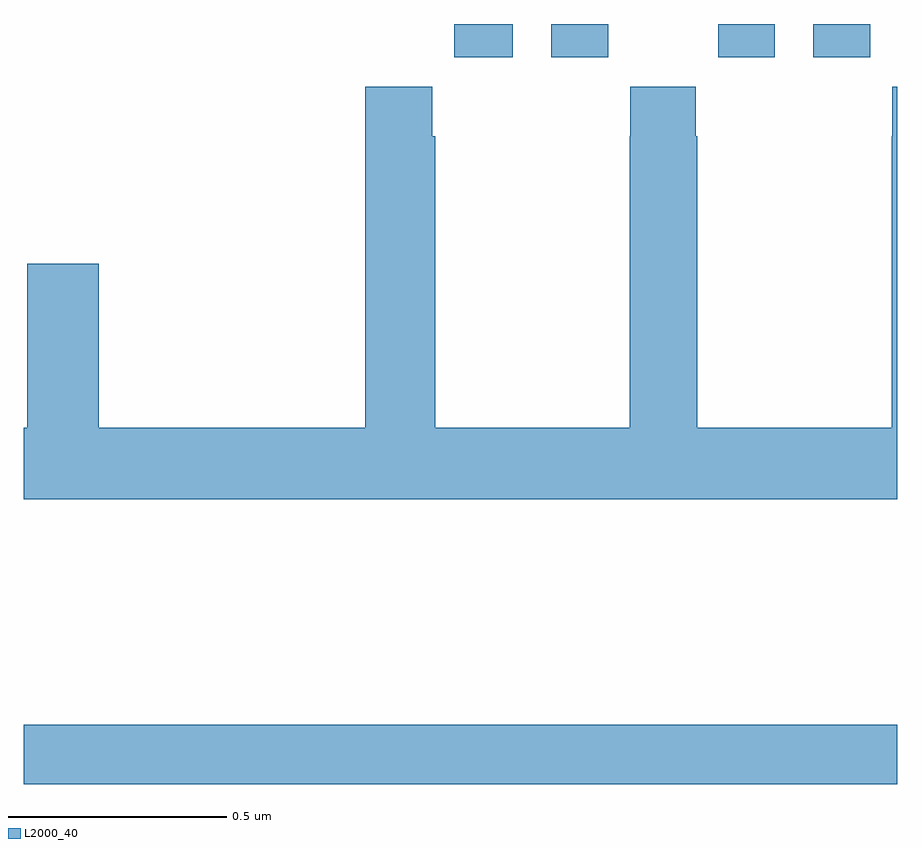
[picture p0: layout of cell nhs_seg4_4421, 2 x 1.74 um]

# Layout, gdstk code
import gdstk
lib = gdstk.Library(unit=1e-6, precision=1e-09)
def R(c, l, rs):  # rectangles x0, y0, x1, y1
    for r in rs: c.add(gdstk.rectangle(r[:2], r[2:], *l))
def P(c, l, *ps):  # polygons
    for p in ps: c.add(gdstk.Polygon(p, *l))
L2000_40 = (2000, 40)

nhs_seg4_4421 = lib.new_cell('nhs_seg4_4421')
R(nhs_seg4_4421, L2000_40, [(165,804.16,167,804.296), (165.986,805.824,166.12,805.9), (166.208,805.824,166.338,805.9), (166.59,805.824,166.72,805.9), (166.808,805.824,166.938,805.9)])
P(nhs_seg4_4421, L2000_40, [(167,805.756),(166.989,805.756),(166.989,805.643),(166.987,805.643),(166.987,804.976),(166.542,804.976),(166.542,805.643),(166.539,805.643),(166.539,805.756),(166.389,805.756),(166.389,805.643),(166.387,805.643),(166.387,804.976),(165.942,804.976),(165.942,805.643),(165.935,805.643),(165.935,805.756),(165.782,805.756),(165.782,804.976),(165.172,804.976),(165.172,805.351),(165.008,805.351),(165.008,804.976),(165,804.976),(165,804.812),(167,804.812)])

lib.write_gds('nhs_seg4_4421.gds')
